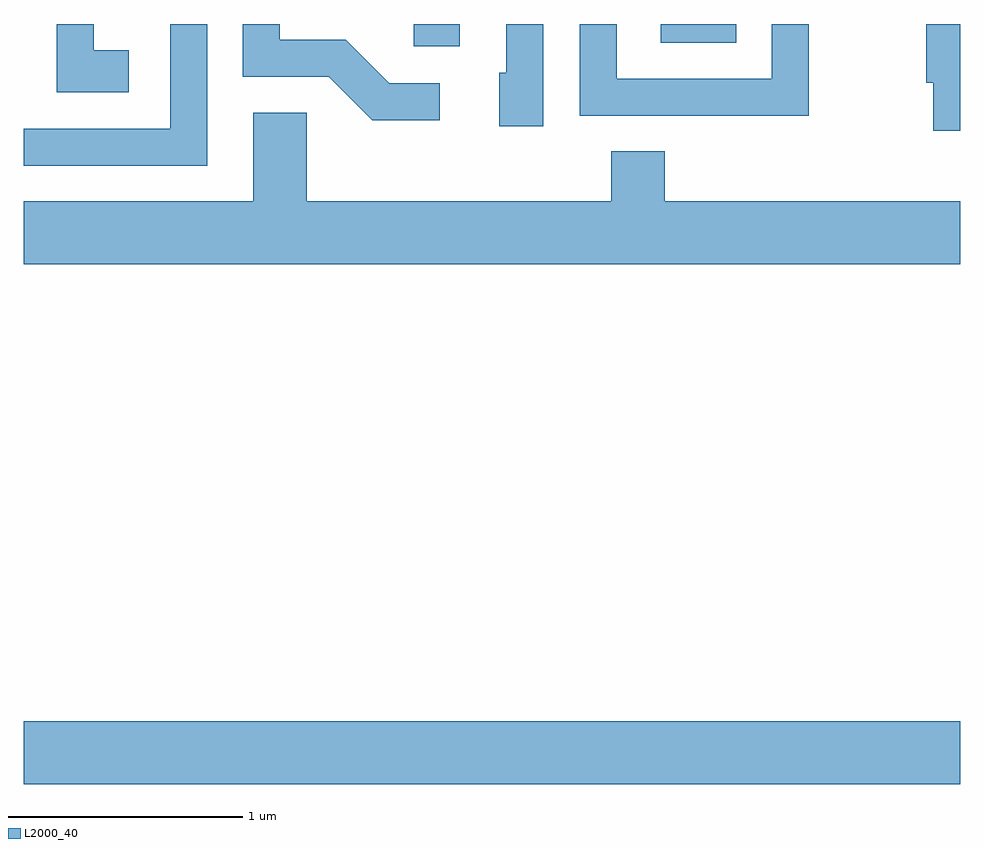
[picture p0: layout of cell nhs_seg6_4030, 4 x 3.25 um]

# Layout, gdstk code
import gdstk
lib = gdstk.Library(unit=1e-6, precision=1e-09)
def R(c, l, rs):  # rectangles x0, y0, x1, y1
    for r in rs: c.add(gdstk.rectangle(r[:2], r[2:], *l))
def P(c, l, *ps):  # polygons
    for p in ps: c.add(gdstk.Polygon(p, *l))
L2000_40 = (2000, 40)

nhs_seg6_4030 = lib.new_cell('nhs_seg6_4030')
R(nhs_seg6_4030, L2000_40, [(307.611,1558.916,311.611,1559.184), (309.276,1562.066,309.474,1562.162), (310.331,1562.081,310.654,1562.162)])
P(nhs_seg6_4030, L2000_40, [(308.394,1562.162),(308.236,1562.162),(308.236,1561.714),(307.611,1561.714),(307.611,1561.556),(308.394,1561.556)],
  [(309.829,1562.162),(309.671,1562.162),(309.671,1561.954),(309.641,1561.954),(309.641,1561.726),(309.829,1561.726)],
  [(310.964,1562.162),(310.806,1562.162),(310.806,1561.929),(310.144,1561.929),(310.144,1562.162),(309.986,1562.162),(309.986,1561.771),(310.964,1561.771)],
  [(311.611,1562.162),(311.466,1562.162),(311.466,1561.911),(311.496,1561.911),(311.496,1561.706),(311.611,1561.706)],
  [(308.059,1562.049),(307.909,1562.049),(307.909,1562.162),(307.751,1562.162),(307.751,1561.871),(308.059,1561.871)],
  [(309.388,1561.909),(309.172,1561.909),(308.987,1562.094),(308.704,1562.094),(308.704,1562.162),(308.546,1562.162),(308.546,1561.936),(308.914,1561.936),(309.099,1561.751),(309.388,1561.751)],
  [(311.611,1561.404),(310.349,1561.404),(310.349,1561.619),(310.121,1561.619),(310.121,1561.404),(308.819,1561.404),(308.819,1561.784),(308.591,1561.784),(308.591,1561.404),(307.611,1561.404),(307.611,1561.136),(311.611,1561.136)])

lib.write_gds('nhs_seg6_4030.gds')
